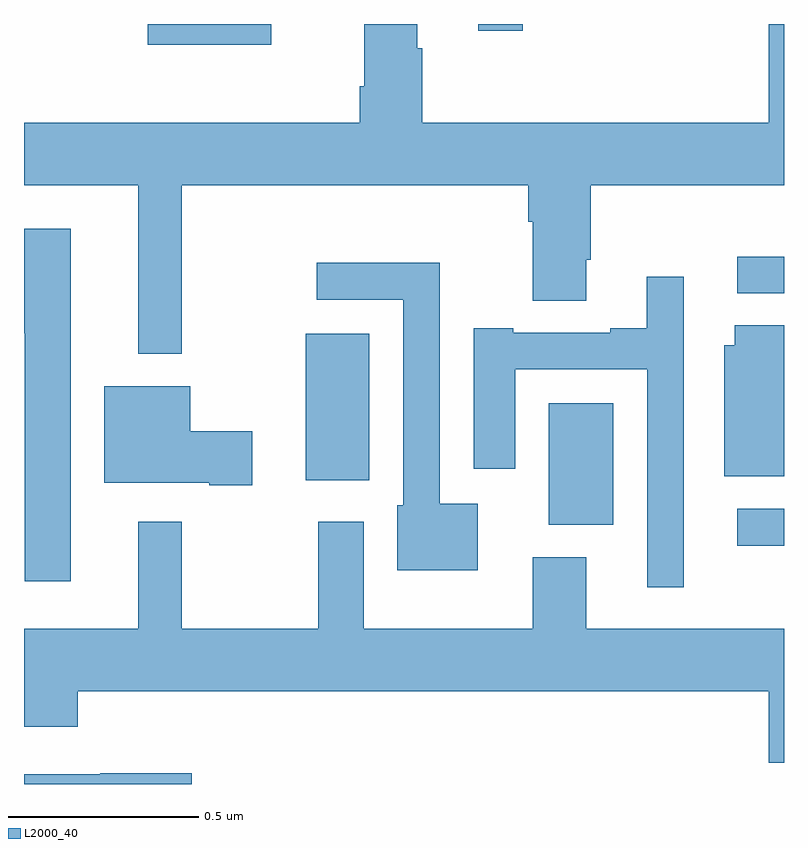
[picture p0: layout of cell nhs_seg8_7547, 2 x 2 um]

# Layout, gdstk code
import gdstk
lib = gdstk.Library(unit=1e-6, precision=1e-09)
def R(c, l, rs):  # rectangles x0, y0, x1, y1
    for r in rs: c.add(gdstk.rectangle(r[:2], r[2:], *l))
def P(c, l, *ps):  # polygons
    for p in ps: c.add(gdstk.Polygon(p, *l))
L2000_40 = (2000, 40)

nhs_seg8_7547 = lib.new_cell('nhs_seg8_7547')
R(nhs_seg8_7547, L2000_40, [(212.877,1139.527,213,1139.625), (212.381,1139.582,212.551,1139.902), (211.742,1139.699,211.909,1140.085), (212.877,1140.192,213,1140.288), (211.326,1140.845,211.65,1140.9), (212.195,1140.882,212.312,1140.9)])
P(nhs_seg8_7547, L2000_40, [(212.048,1140.836),(212.035,1140.836),(212.035,1140.9),(211.895,1140.9),(211.895,1140.736),(211.883,1140.736),(211.883,1140.64),(211,1140.64),(211,1140.476),(211.301,1140.476),(211.301,1140.032),(211.415,1140.032),(211.415,1140.476),(212.327,1140.476),(212.327,1140.38),(212.339,1140.38),(212.339,1140.172),(212.479,1140.172),(212.479,1140.28),(212.492,1140.28),(212.492,1140.476),(213,1140.476),(213,1140.9),(212.96,1140.9),(212.96,1140.64),(212.048,1140.64)],
  [(211.123,1140.361),(211,1140.361),(211,1140.086),(211.002,1140.086),(211.002,1139.433),(211.123,1139.433)],
  [(212.194,1139.638),(212.094,1139.638),(212.094,1140.272),(211.77,1140.272),(211.77,1140.174),(211.998,1140.174),(211.998,1139.634),(211.982,1139.634),(211.982,1139.462),(212.194,1139.462)],
  [(212.736,1140.235),(212.639,1140.235),(212.639,1140.1),(212.543,1140.1),(212.543,1140.087),(212.287,1140.087),(212.287,1140.1),(212.183,1140.1),(212.183,1139.73),(212.293,1139.73),(212.293,1139.991),(212.64,1139.991),(212.64,1139.418),(212.736,1139.418)],
  [(213,1140.107),(212.87,1140.107),(212.87,1140.054),(212.843,1140.054),(212.843,1139.71),(213,1139.71)],
  [(211.6,1139.828),(211.438,1139.828),(211.438,1139.947),(211.211,1139.947),(211.211,1139.693),(211.487,1139.693),(211.487,1139.686),(211.6,1139.686)],
  [(213,1139.308),(212.479,1139.308),(212.479,1139.497),(212.339,1139.497),(212.339,1139.308),(211.894,1139.308),(211.894,1139.59),(211.774,1139.59),(211.774,1139.308),(211.415,1139.308),(211.415,1139.59),(211.301,1139.59),(211.301,1139.308),(211,1139.308),(211,1139.051),(211.142,1139.051),(211.142,1139.144),(212.96,1139.144),(212.96,1138.956),(213,1138.956)],
  [(211.441,1138.928),(211.2,1138.928),(211.2,1138.926),(211,1138.926),(211,1138.9),(211.441,1138.9)])

lib.write_gds('nhs_seg8_7547.gds')
